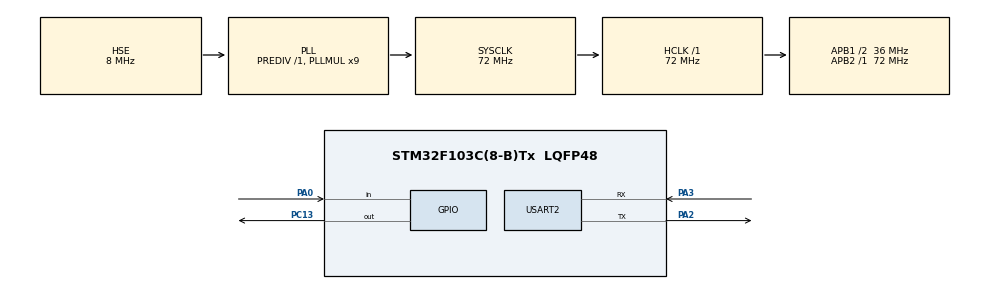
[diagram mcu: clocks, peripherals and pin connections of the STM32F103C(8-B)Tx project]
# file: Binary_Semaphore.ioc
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FREERTOS.BinarySemaphores01=myBinarySem01,Dynamic,NULL
FREERTOS.Tasks01=NormalTask,0,128,StartNormalTask,Default,NULL,Dynamic,NULL,NULL;HighTask,1,128,StartHighTask,Default,NULL,Dynamic,NULL,NULL;LowTask,-1,128,StartLowTask,Default,NULL,Dynamic,NULL,NULL
Mcu.Family=STM32F1
Mcu.Name=STM32F103C(8-B)Tx
Mcu.Package=LQFP48
NVIC.PriorityGroup=NVIC_PRIORITYGROUP_4
NVIC.TIM4_IRQn=true\:15\:0\:false\:false\:true\:false\:false\:true\:true
NVIC.TimeBase=TIM4_IRQn
NVIC.TimeBaseIP=TIM4
PA0-WKUP.GPIO_PuPd=GPIO_PULLUP
PA0-WKUP.Signal=GPIO_Input
PA13.Mode=Serial_Wire
PA13.Signal=SYS_JTMS-SWDIO
PA14.Mode=Serial_Wire
PA14.Signal=SYS_JTCK-SWCLK
PA2.Mode=Asynchronous
PA2.Signal=USART2_TX
PA3.Mode=Asynchronous
PA3.Signal=USART2_RX
PC13-TAMPER-RTC.Signal=GPIO_Output
PD0-OSC_IN.Mode=HSE-External-Oscillator
PD0-OSC_IN.Signal=RCC_OSC_IN
PD1-OSC_OUT.Mode=HSE-External-Oscillator
PD1-OSC_OUT.Signal=RCC_OSC_OUT
ProjectManager.HeapSize=0x200
ProjectManager.StackSize=0x400
ProjectManager.TargetToolchain=STM32CubeIDE
RCC.AHBFreq_Value=72000000
RCC.APB1CLKDivider=RCC_HCLK_DIV2
RCC.APB1Freq_Value=36000000
RCC.APB1TimFreq_Value=72000000
RCC.APB2Freq_Value=72000000
RCC.APB2TimFreq_Value=72000000
RCC.HCLKFreq_Value=72000000
RCC.PLLMUL=RCC_PLL_MUL9
RCC.PLLSourceVirtual=RCC_PLLSOURCE_HSE
RCC.SYSCLKFreq_VALUE=72000000
RCC.SYSCLKSource=RCC_SYSCLKSOURCE_PLLCLK
RCC.USBFreq_Value=72000000
USART2.VirtualMode=VM_ASYNC
VP_FREERTOS_VS_CMSIS_V1.Mode=CMSIS_V1
VP_SYS_VS_tim4.Mode=TIM4
board=custom

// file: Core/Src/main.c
/* USER CODE BEGIN Header */
/**
  ******************************************************************************
  * @file           : main.c
  * @brief          : Main program body
  ******************************************************************************
  * @attention
  *
  * Copyright (c) 2023 STMicroelectronics.
  * All rights reserved.
  *
  * This software is licensed under terms that can be found in the LICENSE file
  * in the root directory of this software component.
  * If no LICENSE file comes with this software, it is provided AS-IS.
  *
  ******************************************************************************
  */
/* USER CODE END Header */
#include "main.h"
#include "cmsis_os.h"

/* USER CODE BEGIN Includes */
#include <stdio.h>
#include <string.h>
/* USER CODE END Includes */

UART_HandleTypeDef huart2;

osThreadId NormalTaskHandle;
osThreadId HighTaskHandle;
osThreadId LowTaskHandle;
osSemaphoreId myBinarySem01Handle;
/* USER CODE BEGIN PV */

// declare button
uint8_t debouncing_state = 1;
uint8_t current_state = 1;
uint8_t last_state = 1;
uint8_t is_debouncing = 0;
uint8_t is_pressing = 0;
uint32_t debouncing_timer = 0;
uint32_t pressing_timer = 0;
volatile uint8_t state = 1;

/* USER CODE END PV */

void SystemClock_Config(void);
static void MX_GPIO_Init(void);
static void MX_USART2_UART_Init(void);
void StartNormalTask(void const * argument);
void StartHighTask(void const * argument);
void StartLowTask(void const * argument);

/* USER CODE BEGIN 0 */

int BUTTON_Handle()
{
	uint8_t temp_state = HAL_GPIO_ReadPin(GPIOA, GPIO_PIN_0);
	// detecting

	if(temp_state != debouncing_state)
	{
		debouncing_state = temp_state;
		is_debouncing = 1;
		debouncing_timer = HAL_GetTick();
	}

	//debouncing

	if(is_debouncing == 1 && (HAL_GetTick() - debouncing_timer > 15))
	{
		current_state = debouncing_state;
		is_debouncing = 0;
	}

	if(current_state != last_state)
	{
    state = 0;
		return 0;
	}

  state = 1;
  return 1;
}
/* USER CODE END 0 */

int main(void)
{

  /* MCU Configuration--------------------------------------------------------*/

  /* Reset of all peripherals, Initializes the Flash interface and the Systick. */
  HAL_Init();

  /* Configure the system clock */
  SystemClock_Config();

  /* Initialize all configured peripherals */
  MX_GPIO_Init();
  MX_USART2_UART_Init();

  /* Create the semaphores(s) */
  /* definition and creation of myBinarySem01 */
  osSemaphoreDef(myBinarySem01);
  myBinarySem01Handle = osSemaphoreCreate(osSemaphore(myBinarySem01), 1);

  /* Create the thread(s) */
  /* definition and creation of NormalTask */
  osThreadDef(NormalTask, StartNormalTask, osPriorityNormal, 0, 128);
  NormalTaskHandle = osThreadCreate(osThread(NormalTask), NULL);

  /* definition and creation of HighTask */
  osThreadDef(HighTask, StartHighTask, osPriorityAboveNormal, 0, 128);
  HighTaskHandle = osThreadCreate(osThread(HighTask), NULL);

  /* definition and creation of LowTask */
  osThreadDef(LowTask, StartLowTask, osPriorityBelowNormal, 0, 128);
  LowTaskHandle = osThreadCreate(osThread(LowTask), NULL);

  /* Start scheduler */
  osKernelStart();
  /* We should never get here as control is now taken by the scheduler */
  /* Infinite loop */
  while (1)
  {

  }
}

void SystemClock_Config(void)
{
  RCC_OscInitTypeDef RCC_OscInitStruct = {0};
  RCC_ClkInitTypeDef RCC_ClkInitStruct = {0};

  /** Initializes the RCC Oscillators according to the specified parameters
  * in the RCC_OscInitTypeDef structure.
  */
  RCC_OscInitStruct.OscillatorType = RCC_OSCILLATORTYPE_HSE;
  RCC_OscInitStruct.HSEState = RCC_HSE_ON;
  RCC_OscInitStruct.HSEPredivValue = RCC_HSE_PREDIV_DIV1;
  RCC_OscInitStruct.HSIState = RCC_HSI_ON;
  RCC_OscInitStruct.PLL.PLLState = RCC_PLL_ON;
  RCC_OscInitStruct.PLL.PLLSource = RCC_PLLSOURCE_HSE;
  RCC_OscInitStruct.PLL.PLLMUL = RCC_PLL_MUL9;
  if (HAL_RCC_OscConfig(&RCC_OscInitStruct) != HAL_OK)
  {
    Error_Handler();
  }

  /** Initializes the CPU, AHB and APB buses clocks
  */
  RCC_ClkInitStruct.ClockType = RCC_CLOCKTYPE_HCLK|RCC_CLOCKTYPE_SYSCLK
                              |RCC_CLOCKTYPE_PCLK1|RCC_CLOCKTYPE_PCLK2;
  RCC_ClkInitStruct.SYSCLKSource = RCC_SYSCLKSOURCE_PLLCLK;
  RCC_ClkInitStruct.AHBCLKDivider = RCC_SYSCLK_DIV1;
  RCC_ClkInitStruct.APB1CLKDivider = RCC_HCLK_DIV2;
  RCC_ClkInitStruct.APB2CLKDivider = RCC_HCLK_DIV1;

  if (HAL_RCC_ClockConfig(&RCC_ClkInitStruct, FLASH_LATENCY_2) != HAL_OK)
  {
    Error_Handler();
  }
}

static void MX_USART2_UART_Init(void)
{

  huart2.Instance = USART2;
  huart2.Init.BaudRate = 115200;
  huart2.Init.WordLength = UART_WORDLENGTH_8B;
  huart2.Init.StopBits = UART_STOPBITS_1;
  huart2.Init.Parity = UART_PARITY_NONE;
  huart2.Init.Mode = UART_MODE_TX_RX;
  huart2.Init.HwFlowCtl = UART_HWCONTROL_NONE;
  huart2.Init.OverSampling = UART_OVERSAMPLING_16;
  if (HAL_UART_Init(&huart2) != HAL_OK)
  {
    Error_Handler();
  }

}

static void MX_GPIO_Init(void)
{
  GPIO_InitTypeDef GPIO_InitStruct = {0};

  /* GPIO Ports Clock Enable */
  __HAL_RCC_GPIOC_CLK_ENABLE();
  __HAL_RCC_GPIOD_CLK_ENABLE();
  __HAL_RCC_GPIOA_CLK_ENABLE();

  /*Configure GPIO pin Output Level */
  HAL_GPIO_WritePin(GPIOC, GPIO_PIN_13, GPIO_PIN_RESET);

  /*Configure GPIO pin : PC13 */
  GPIO_InitStruct.Pin = GPIO_PIN_13;
  GPIO_InitStruct.Mode = GPIO_MODE_OUTPUT_PP;
  GPIO_InitStruct.Pull = GPIO_NOPULL;
  GPIO_InitStruct.Speed = GPIO_SPEED_FREQ_LOW;
  HAL_GPIO_Init(GPIOC, &GPIO_InitStruct);

  /*Configure GPIO pin : PA0 */
  GPIO_InitStruct.Pin = GPIO_PIN_0;
  GPIO_InitStruct.Mode = GPIO_MODE_INPUT;
  GPIO_InitStruct.Pull = GPIO_PULLUP;
  HAL_GPIO_Init(GPIOA, &GPIO_InitStruct);

}

void StartNormalTask(void const * argument)
{
  /* USER CODE BEGIN 5 */
  /* Infinite loop */
  for(;;)
  {
    const char *str_high_in = "Enter Medium Task\n";
    HAL_UART_Transmit(&huart2, (uint8_t *) str_high_in, strlen(str_high_in), 100);

    const char *str_high_out = "Leaving Medium Task\n";
    HAL_UART_Transmit(&huart2, (uint8_t *) str_high_out, strlen(str_high_out), 100);
    osDelay(500);
  }
  /* USER CODE END 5 */
}

void StartHighTask(void const * argument)
{
  /* USER CODE BEGIN StartHighTask */
  /* Infinite loop */
  for(;;)
  {
    const char *str_high_in = "Enter High Task and Waiting for Semaphore\n";
    HAL_UART_Transmit(&huart2, (uint8_t *) str_high_in, strlen(str_high_in), 100);

    osSemaphoreWait(myBinarySem01Handle, osWaitForever);

    const char *str_sem = "Semaphore is acquired by High Task\n";
    HAL_UART_Transmit(&huart2, (uint8_t *) str_sem, strlen(str_sem), 100);

    const char *str_high_out = "Leaving High Task and Releasing Semaphore\n\n";
    HAL_UART_Transmit(&huart2, (uint8_t *) str_high_out, strlen(str_high_out), 100);

    osSemaphoreRelease(myBinarySem01Handle);
    osDelay(500);
  }
  /* USER CODE END StartHighTask */
}

void StartLowTask(void const * argument)
{
  /* USER CODE BEGIN StartLowTask */
  /* Infinite loop */
  for(;;)
  {
    const char *str_high_in = "Enter low Task and Waiting for Semaphore\n";
    HAL_UART_Transmit(&huart2, (uint8_t *) str_high_in, strlen(str_high_in), 100);

    osSemaphoreWait(myBinarySem01Handle, osWaitForever);

    const char *str_sem = "Semaphore is acquired by low Task\n";
    HAL_UART_Transmit(&huart2, (uint8_t *) str_sem, strlen(str_sem), 100);

    const char *str_high_out = "Leaving low Task and Releasing Semaphore\n\n";
    HAL_UART_Transmit(&huart2, (uint8_t *) str_high_out, strlen(str_high_out), 100);

    osSemaphoreRelease(myBinarySem01Handle);
    osDelay(500);
  }
  /* USER CODE END StartLowTask */
}

void HAL_TIM_PeriodElapsedCallback(TIM_HandleTypeDef *htim)
{
  if (htim->Instance == TIM4) {
    HAL_IncTick();
  }
}

void Error_Handler(void)
{
  __disable_irq();
  while (1)
  {
  }
}
